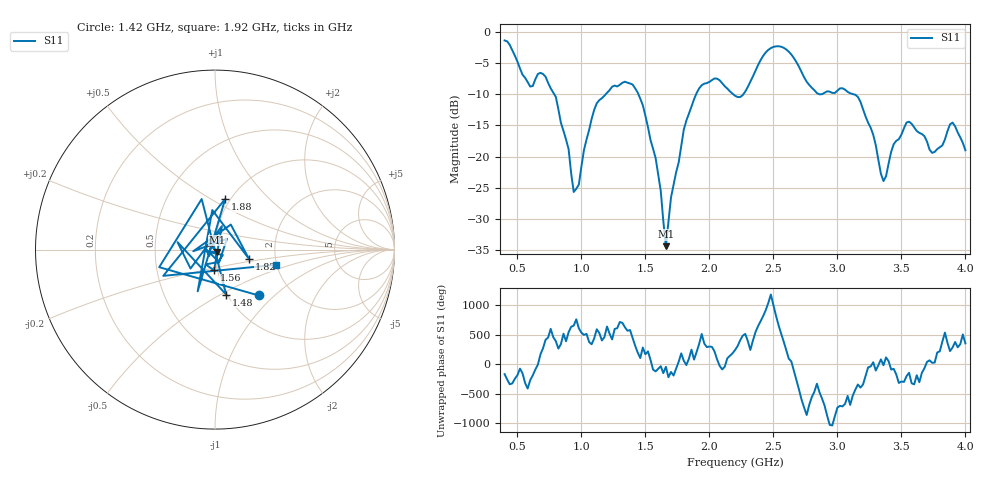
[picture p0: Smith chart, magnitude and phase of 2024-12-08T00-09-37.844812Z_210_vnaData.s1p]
!Created with skrf (http://scikit-rf.org).
# Hz S RI R 50.0
!freq ReS11 ImS11
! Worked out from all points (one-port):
!   181 points, 400 MHz to 4 GHz, reference 50 ohm
!   lowest |S11| = -34.3 dB at 1.66 GHz (marker M1), VSWR 1.04, Z = 51.4 - j1.4 ohm
!   |S11| at or under -10 dB: 787.6 MHz to 1.19 GHz (402.5 MHz wide, 40.7 % of centre); 1.445 GHz to 1.896 GHz (450.8 MHz wide, 27 % of centre); 3.125 GHz to end of sweep (the widest 3 of 5)
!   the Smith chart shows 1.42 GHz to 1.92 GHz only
!   S11 on the Smith chart (normalised r, x): 1.42 GHz: 1.37, -0.80; 1.48 GHz: 0.99, -0.53; 1.56 GHz: 0.96, -0.23; 1.82 GHz: 1.45, -0.15; 1.88 GHz: 0.95, +0.58; 1.92 GHz: 1.99, -0.38
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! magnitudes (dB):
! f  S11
! 400 MHz  -1.4
! 600 MHz  -8.8
! 720 MHz  -7.2
! 860 MHz  -15.9
! 940 MHz  -25.6
! 1.12 GHz  -11.4
! 1.3 GHz  -8.5
! 1.42 GHz  -9.1
! 1.48 GHz  -11.8
! 1.56 GHz  -18.7
! 1.62 GHz  -25.5
! 1.66 GHz  -34.3
! 1.7 GHz  -26.5
! 1.76 GHz  -20.9
! 1.82 GHz  -14.2
! 1.88 GHz  -10.8
! 1.92 GHz  -9.1
! 2.2 GHz  -10.2
! 2.48 GHz  -2.6
! 2.66 GHz  -4.2
! 2.84 GHz  -9.8
! 3.1 GHz  -9.8
! 3.26 GHz  -15.4
! 3.36 GHz  -23.9
! 3.56 GHz  -14.4
! 3.74 GHz  -19.4
! 3.9 GHz  -14.5
! 4 GHz  -19.0
